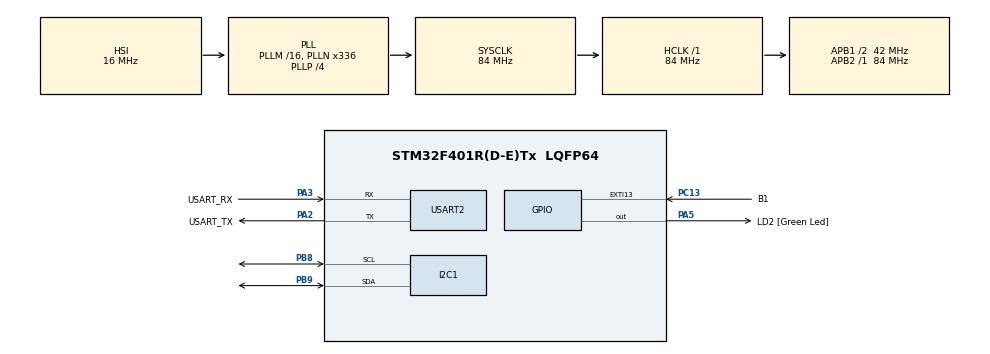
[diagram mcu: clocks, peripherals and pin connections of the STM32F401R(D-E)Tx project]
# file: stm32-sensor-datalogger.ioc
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FREERTOS.Tasks01=AppTask,24,1024,StartAppTask,Default,NULL,Dynamic,NULL,NULL
FREERTOS.configTOTAL_HEAP_SIZE=24576
FREERTOS.configUSE_STATS_FORMATTING_FUNCTIONS=1
IWDG.Prescaler=IWDG_PRESCALER_32
Mcu.Family=STM32F4
Mcu.Name=STM32F401R(D-E)Tx
Mcu.Package=LQFP64
NVIC.EXTI15_10_IRQn=true\:5\:0\:true\:false\:true\:true\:true\:true\:true
NVIC.PriorityGroup=NVIC_PRIORITYGROUP_4
NVIC.TIM1_TRG_COM_TIM11_IRQn=true\:0\:0\:true\:false\:true\:false\:false\:true\:true
NVIC.TimeBase=TIM1_TRG_COM_TIM11_IRQn
NVIC.TimeBaseIP=TIM11
NVIC.USART2_IRQn=true\:5\:0\:true\:false\:true\:true\:true\:true\:true
PA13.GPIO_Label=TMS
PA13.Mode=Trace_Asynchronous_SW
PA13.Signal=SYS_JTMS-SWDIO
PA14.GPIO_Label=TCK
PA14.Mode=Trace_Asynchronous_SW
PA14.Signal=SYS_JTCK-SWCLK
PA2.GPIO_Label=USART_TX
PA2.GPIO_Mode=GPIO_MODE_AF_PP
PA2.GPIO_PuPd=GPIO_NOPULL
PA2.GPIO_Speed=GPIO_SPEED_FREQ_LOW
PA2.Mode=Asynchronous
PA2.Signal=USART2_TX
PA3.GPIO_Label=USART_RX
PA3.GPIO_Mode=GPIO_MODE_AF_PP
PA3.GPIO_PuPd=GPIO_NOPULL
PA3.GPIO_Speed=GPIO_SPEED_FREQ_LOW
PA3.Mode=Asynchronous
PA3.Signal=USART2_RX
PA5.GPIO_Label=LD2 [Green Led]
PA5.GPIO_Mode=GPIO_MODE_OUTPUT_PP
PA5.GPIO_PuPd=GPIO_NOPULL
PA5.GPIO_Speed=GPIO_SPEED_FREQ_LOW
PA5.Signal=GPIO_Output
PB3.GPIO_Label=SWO
PB3.Mode=Trace_Asynchronous_SW
PB3.Signal=SYS_JTDO-SWO
PB8.Mode=I2C
PB8.Signal=I2C1_SCL
PB9.Mode=I2C
PB9.Signal=I2C1_SDA
PC13-ANTI_TAMP.GPIO_Label=B1
PC13-ANTI_TAMP.GPIO_ModeDefaultEXTI=GPIO_MODE_IT_RISING_FALLING
PC13-ANTI_TAMP.Signal=GPXTI13
PC14-OSC32_IN.Mode=LSE-External-Oscillator
PC14-OSC32_IN.Signal=RCC_OSC32_IN
PC15-OSC32_OUT.Mode=LSE-External-Oscillator
PC15-OSC32_OUT.Signal=RCC_OSC32_OUT
PH0\ -\ OSC_IN.Mode=HSE-External-Clock-Source
PH0\ -\ OSC_IN.Signal=RCC_OSC_IN
PH1\ -\ OSC_OUT.Mode=HSE-External-Clock-Source
PH1\ -\ OSC_OUT.Signal=RCC_OSC_OUT
ProjectManager.HeapSize=0x200
ProjectManager.StackSize=0x400
ProjectManager.TargetToolchain=STM32CubeIDE
RCC.48MHZClocksFreq_Value=48000000
RCC.AHBFreq_Value=84000000
RCC.APB1CLKDivider=RCC_HCLK_DIV2
RCC.APB1Freq_Value=42000000
RCC.APB1TimFreq_Value=84000000
RCC.APB2Freq_Value=84000000
RCC.APB2TimFreq_Value=84000000
RCC.CortexFreq_Value=84000000
RCC.HCLKFreq_Value=84000000
RCC.HSE_VALUE=8000000
RCC.HSI_VALUE=16000000
RCC.PLLN=336
RCC.PLLP=RCC_PLLP_DIV4
RCC.PLLQ=7
RCC.SYSCLKFreq_VALUE=84000000
RCC.SYSCLKSource=RCC_SYSCLKSOURCE_PLLCLK
RCC.VCOOutputFreq_Value=336000000
USART2.VirtualMode=VM_ASYNC
VP_FREERTOS_VS_CMSIS_V2.Mode=CMSIS_V2
VP_IWDG_VS_IWDG.Mode=IWDG_Activate
VP_SYS_VS_tim11.Mode=TIM11
board=NUCLEO-F401RE

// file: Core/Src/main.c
/* USER CODE BEGIN Header */
/**
  ******************************************************************************
  * @file           : main.c
  * @brief          : Main program body
  ******************************************************************************
  * @attention
  *
  * Copyright (c) 2026 STMicroelectronics.
  * All rights reserved.
  *
  * This software is licensed under terms that can be found in the LICENSE file
  * in the root directory of this software component.
  * If no LICENSE file comes with this software, it is provided AS-IS.
  *
  ******************************************************************************
  */
/* USER CODE END Header */
#include "main.h"
#include "cmsis_os.h"

/* USER CODE BEGIN Includes */
#include <stdio.h>
#include "command_menu.h"
#include "bme280.h"
#include "mpu6050.h"
#include "display_task.h"
#include "data_logger.h"
#include "controls.h"
#include "i2c_bus.h"
#include "sensor_task.h"
#include "watchdog.h"
/* USER CODE END Includes */

I2C_HandleTypeDef hi2c1;

IWDG_HandleTypeDef hiwdg;

UART_HandleTypeDef huart2;

/* Definitions for AppTask */
osThreadId_t AppTaskHandle;
const osThreadAttr_t AppTask_attributes = {
  .name = "AppTask",
  .stack_size = 1024 * 4,
  .priority = (osPriority_t) osPriorityNormal,
};

void SystemClock_Config(void);
static void MX_GPIO_Init(void);
static void MX_I2C1_Init(void);
static void MX_USART2_UART_Init(void);
static void MX_IWDG_Init(void);
void StartAppTask(void *argument);

/* USER CODE BEGIN 0 */
int __io_putchar(int ch)
{
    HAL_UART_Transmit(&huart2, (uint8_t *)&ch, 1, HAL_MAX_DELAY);
    return ch;
}
/* USER CODE END 0 */

int main(void)
{

  /* USER CODE BEGIN 1 */
  HAL_GPIO_TogglePin(LD2_GPIO_Port, LD2_Pin);
  //HAL_Delay(500);
  /* USER CODE END 1 */

  /* MCU Configuration--------------------------------------------------------*/

  /* Reset of all peripherals, Initializes the Flash interface and the Systick. */
  HAL_Init();

  /* Configure the system clock */
  SystemClock_Config();

  /* Initialize all configured peripherals */
  MX_GPIO_Init();
  MX_I2C1_Init();
  MX_USART2_UART_Init();
  MX_IWDG_Init();
  /* USER CODE BEGIN 2 */
  setvbuf(stdout, NULL, _IONBF, 0);
  CommandMenu_Init(&huart2);
  DataLogger_Init();
  Controls_Init();
  if (BME280_Init(&hi2c1) != BME280_OK) {
	printf("\r\n[WARNING] BME280 not found on the I2C bus");
  }
  if (MPU6050_Init(&hi2c1) != MPU6050_OK) {
    printf("\r\n[WARNING] MPU6050 not found on the I2C bus");
  }
  if (DisplayTask_Init(&hi2c1) != SSD1306_OK) {
	printf("\r\n[WARNING] SSD1306 not found on the I2C bus");
  }
  Watchdog_Init();
  /* USER CODE END 2 */

  /* Init scheduler */
  osKernelInitialize();

  /* Create the thread(s) */
  /* creation of AppTask */
  AppTaskHandle = osThreadNew(StartAppTask, NULL, &AppTask_attributes);

  /* Start scheduler */
  osKernelStart();

  /* We should never get here as control is now taken by the scheduler */

  /* Infinite loop */
  while (1)
  {

  }
}

void SystemClock_Config(void)
{
  RCC_OscInitTypeDef RCC_OscInitStruct = {0};
  RCC_ClkInitTypeDef RCC_ClkInitStruct = {0};

  /** Configure the main internal regulator output voltage
  */
  __HAL_RCC_PWR_CLK_ENABLE();
  __HAL_PWR_VOLTAGESCALING_CONFIG(PWR_REGULATOR_VOLTAGE_SCALE2);

  /** Initializes the RCC Oscillators according to the specified parameters
  * in the RCC_OscInitTypeDef structure.
  */
  RCC_OscInitStruct.OscillatorType = RCC_OSCILLATORTYPE_HSI|RCC_OSCILLATORTYPE_LSI;
  RCC_OscInitStruct.HSIState = RCC_HSI_ON;
  RCC_OscInitStruct.HSICalibrationValue = RCC_HSICALIBRATION_DEFAULT;
  RCC_OscInitStruct.LSIState = RCC_LSI_ON;
  RCC_OscInitStruct.PLL.PLLState = RCC_PLL_ON;
  RCC_OscInitStruct.PLL.PLLSource = RCC_PLLSOURCE_HSI;
  RCC_OscInitStruct.PLL.PLLM = 16;
  RCC_OscInitStruct.PLL.PLLN = 336;
  RCC_OscInitStruct.PLL.PLLP = RCC_PLLP_DIV4;
  RCC_OscInitStruct.PLL.PLLQ = 7;
  if (HAL_RCC_OscConfig(&RCC_OscInitStruct) != HAL_OK)
  {
    Error_Handler();
  }

  /** Initializes the CPU, AHB and APB buses clocks
  */
  RCC_ClkInitStruct.ClockType = RCC_CLOCKTYPE_HCLK|RCC_CLOCKTYPE_SYSCLK
                              |RCC_CLOCKTYPE_PCLK1|RCC_CLOCKTYPE_PCLK2;
  RCC_ClkInitStruct.SYSCLKSource = RCC_SYSCLKSOURCE_PLLCLK;
  RCC_ClkInitStruct.AHBCLKDivider = RCC_SYSCLK_DIV1;
  RCC_ClkInitStruct.APB1CLKDivider = RCC_HCLK_DIV2;
  RCC_ClkInitStruct.APB2CLKDivider = RCC_HCLK_DIV1;

  if (HAL_RCC_ClockConfig(&RCC_ClkInitStruct, FLASH_LATENCY_2) != HAL_OK)
  {
    Error_Handler();
  }
}

static void MX_I2C1_Init(void)
{

  hi2c1.Instance = I2C1;
  hi2c1.Init.ClockSpeed = 100000;
  hi2c1.Init.DutyCycle = I2C_DUTYCYCLE_2;
  hi2c1.Init.OwnAddress1 = 0;
  hi2c1.Init.AddressingMode = I2C_ADDRESSINGMODE_7BIT;
  hi2c1.Init.DualAddressMode = I2C_DUALADDRESS_DISABLE;
  hi2c1.Init.OwnAddress2 = 0;
  hi2c1.Init.GeneralCallMode = I2C_GENERALCALL_DISABLE;
  hi2c1.Init.NoStretchMode = I2C_NOSTRETCH_DISABLE;
  if (HAL_I2C_Init(&hi2c1) != HAL_OK)
  {
    Error_Handler();
  }

}

static void MX_IWDG_Init(void)
{

  hiwdg.Instance = IWDG;
  hiwdg.Init.Prescaler = IWDG_PRESCALER_32;
  hiwdg.Init.Reload = 4095;
  if (HAL_IWDG_Init(&hiwdg) != HAL_OK)
  {
    Error_Handler();
  }

}

static void MX_USART2_UART_Init(void)
{

  huart2.Instance = USART2;
  huart2.Init.BaudRate = 115200;
  huart2.Init.WordLength = UART_WORDLENGTH_8B;
  huart2.Init.StopBits = UART_STOPBITS_1;
  huart2.Init.Parity = UART_PARITY_NONE;
  huart2.Init.Mode = UART_MODE_TX_RX;
  huart2.Init.HwFlowCtl = UART_HWCONTROL_NONE;
  huart2.Init.OverSampling = UART_OVERSAMPLING_16;
  if (HAL_UART_Init(&huart2) != HAL_OK)
  {
    Error_Handler();
  }

}

static void MX_GPIO_Init(void)
{
  GPIO_InitTypeDef GPIO_InitStruct = {0};

  /* GPIO Ports Clock Enable */
  __HAL_RCC_GPIOC_CLK_ENABLE();
  __HAL_RCC_GPIOH_CLK_ENABLE();
  __HAL_RCC_GPIOA_CLK_ENABLE();
  __HAL_RCC_GPIOB_CLK_ENABLE();

  /*Configure GPIO pin Output Level */
  HAL_GPIO_WritePin(LD2_GPIO_Port, LD2_Pin, GPIO_PIN_RESET);

  /*Configure GPIO pin : B1_Pin */
  GPIO_InitStruct.Pin = B1_Pin;
  GPIO_InitStruct.Mode = GPIO_MODE_IT_RISING_FALLING;
  GPIO_InitStruct.Pull = GPIO_NOPULL;
  HAL_GPIO_Init(B1_GPIO_Port, &GPIO_InitStruct);

  /*Configure GPIO pin : LD2_Pin */
  GPIO_InitStruct.Pin = LD2_Pin;
  GPIO_InitStruct.Mode = GPIO_MODE_OUTPUT_PP;
  GPIO_InitStruct.Pull = GPIO_NOPULL;
  GPIO_InitStruct.Speed = GPIO_SPEED_FREQ_LOW;
  HAL_GPIO_Init(LD2_GPIO_Port, &GPIO_InitStruct);

  /* EXTI interrupt init*/
  HAL_NVIC_SetPriority(EXTI15_10_IRQn, 5, 0);
  HAL_NVIC_EnableIRQ(EXTI15_10_IRQn);

}

void StartAppTask(void *argument)
{
  /* USER CODE BEGIN 5 */
  I2cBus_Init();
  SensorTask_Create();
  DataLogger_Create();
  DisplayTask_Create();
  CommandMenu_Create();
  Controls_Create();
  Watchdog_Create();
  vTaskDelete(NULL);     /* the bootstrap task is no longer needed */
  /* USER CODE END 5 */
}

void HAL_TIM_PeriodElapsedCallback(TIM_HandleTypeDef *htim)
{
  if (htim->Instance == TIM11)
  {
    HAL_IncTick();
  }
}

void Error_Handler(void)
{
  __disable_irq();
  while (1)
  {
  }
}
